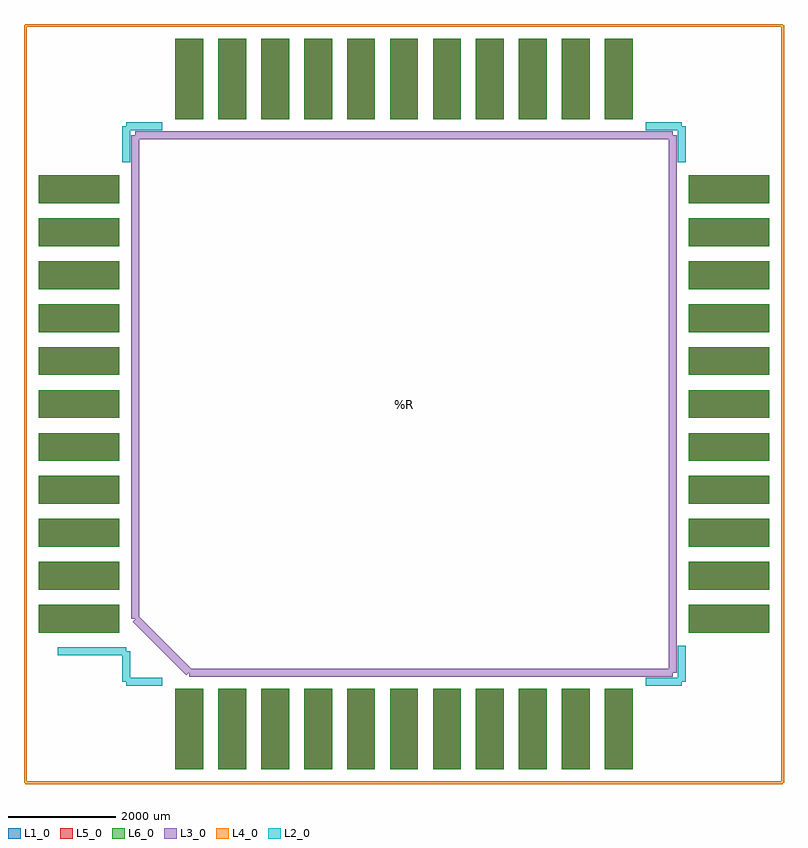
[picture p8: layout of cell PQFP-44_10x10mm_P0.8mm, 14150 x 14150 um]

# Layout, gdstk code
import gdstk
lib = gdstk.Library(unit=1e-6, precision=1e-09)
def R(c, l, rs):  # rectangles x0, y0, x1, y1
    for r in rs: c.add(gdstk.rectangle(r[:2], r[2:], *l))
def A(c, l, x, y, w, h, nx, ny, dx, dy):  # array of equal rectangles
    R(c, l, [(x+i*dx, y+j*dy, x+i*dx+w, y+j*dy+h) for i in range(nx) for j in range(ny)])
L1_0 = (1, 0)
L2_0 = (2, 0)
L3_0 = (3, 0)
L4_0 = (4, 0)
L5_0 = (5, 0)
L6_0 = (6, 0)

pqfp_44_10x10mm_p0_8mm = lib.new_cell('PQFP-44_10x10mm_P0.8mm')
A(pqfp_44_10x10mm_p0_8mm, L1_0, -4260, -6800, 520, 1500, 11, 2, 800, 12100)
A(pqfp_44_10x10mm_p0_8mm, L1_0, -6800, -4260, 1500, 520, 1, 11, 0, 800)
A(pqfp_44_10x10mm_p0_8mm, L1_0, 5300, -4260, 1500, 520, 1, 11, 0, 800)
A(pqfp_44_10x10mm_p0_8mm, L5_0, -4260, -6800, 520, 1500, 11, 2, 800, 12100)
A(pqfp_44_10x10mm_p0_8mm, L5_0, -6800, -4260, 1500, 520, 1, 11, 0, 800)
A(pqfp_44_10x10mm_p0_8mm, L5_0, 5300, -4260, 1500, 520, 1, 11, 0, 800)
A(pqfp_44_10x10mm_p0_8mm, L6_0, -4260, -6800, 520, 1500, 11, 2, 800, 12100)
A(pqfp_44_10x10mm_p0_8mm, L6_0, -6800, -4260, 1500, 520, 1, 11, 0, 800)
A(pqfp_44_10x10mm_p0_8mm, L6_0, 5300, -4260, 1500, 520, 1, 11, 0, 800)
pqfp_44_10x10mm_p0_8mm.add(gdstk.FlexPath([(-4000,-5000),(5000,-5000)], 150, ends="flush", simple_path=True, layer=3, datatype=0))  # L3_0
pqfp_44_10x10mm_p0_8mm.add(gdstk.FlexPath([(5000,-5000),(5000,5000)], 150, ends="flush", simple_path=True, layer=3, datatype=0))  # L3_0
pqfp_44_10x10mm_p0_8mm.add(gdstk.FlexPath([(5000,5000),(-5000,5000)], 150, ends="flush", simple_path=True, layer=3, datatype=0))  # L3_0
pqfp_44_10x10mm_p0_8mm.add(gdstk.FlexPath([(-5000,5000),(-5000,-4000)], 150, ends="flush", simple_path=True, layer=3, datatype=0))  # L3_0
pqfp_44_10x10mm_p0_8mm.add(gdstk.FlexPath([(-5000,-4000),(-4000,-5000)], 150, ends="flush", simple_path=True, layer=3, datatype=0))  # L3_0
pqfp_44_10x10mm_p0_8mm.add(gdstk.FlexPath([(-7050,-7050),(-7050,7050)], 50, ends="flush", simple_path=True, layer=4, datatype=0))  # L4_0
pqfp_44_10x10mm_p0_8mm.add(gdstk.FlexPath([(7050,-7050),(7050,7050)], 50, ends="flush", simple_path=True, layer=4, datatype=0))  # L4_0
pqfp_44_10x10mm_p0_8mm.add(gdstk.FlexPath([(-7050,-7050),(7050,-7050)], 50, ends="flush", simple_path=True, layer=4, datatype=0))  # L4_0
pqfp_44_10x10mm_p0_8mm.add(gdstk.FlexPath([(-7050,7050),(7050,7050)], 50, ends="flush", simple_path=True, layer=4, datatype=0))  # L4_0
pqfp_44_10x10mm_p0_8mm.add(gdstk.FlexPath([(-5175,-5175),(-5175,-4600)], 150, ends="flush", simple_path=True, layer=2, datatype=0))  # L2_0
pqfp_44_10x10mm_p0_8mm.add(gdstk.FlexPath([(5175,-5175),(5175,-4500)], 150, ends="flush", simple_path=True, layer=2, datatype=0))  # L2_0
pqfp_44_10x10mm_p0_8mm.add(gdstk.FlexPath([(5175,5175),(5175,4500)], 150, ends="flush", simple_path=True, layer=2, datatype=0))  # L2_0
pqfp_44_10x10mm_p0_8mm.add(gdstk.FlexPath([(-5175,5175),(-5175,4500)], 150, ends="flush", simple_path=True, layer=2, datatype=0))  # L2_0
pqfp_44_10x10mm_p0_8mm.add(gdstk.FlexPath([(-5175,-5175),(-4500,-5175)], 150, ends="flush", simple_path=True, layer=2, datatype=0))  # L2_0
pqfp_44_10x10mm_p0_8mm.add(gdstk.FlexPath([(-5175,5175),(-4500,5175)], 150, ends="flush", simple_path=True, layer=2, datatype=0))  # L2_0
pqfp_44_10x10mm_p0_8mm.add(gdstk.FlexPath([(5175,5175),(4500,5175)], 150, ends="flush", simple_path=True, layer=2, datatype=0))  # L2_0
pqfp_44_10x10mm_p0_8mm.add(gdstk.FlexPath([(5175,-5175),(4500,-5175)], 150, ends="flush", simple_path=True, layer=2, datatype=0))  # L2_0
pqfp_44_10x10mm_p0_8mm.add(gdstk.FlexPath([(-5175,-4600),(-6450,-4600)], 150, ends="flush", simple_path=True, layer=2, datatype=0))  # L2_0
pqfp_44_10x10mm_p0_8mm.add(gdstk.Label('REF**', (0,-7800), layer=2, texttype=0))
pqfp_44_10x10mm_p0_8mm.add(gdstk.Label('PQFP-44_10x10mm_P0.8mm', (0,7800), layer=3, texttype=0))
pqfp_44_10x10mm_p0_8mm.add(gdstk.Label('%R', (0,0), layer=3, texttype=0))

lib.write_gds('PQFP-44_10x10mm_P0.8mm.gds')
